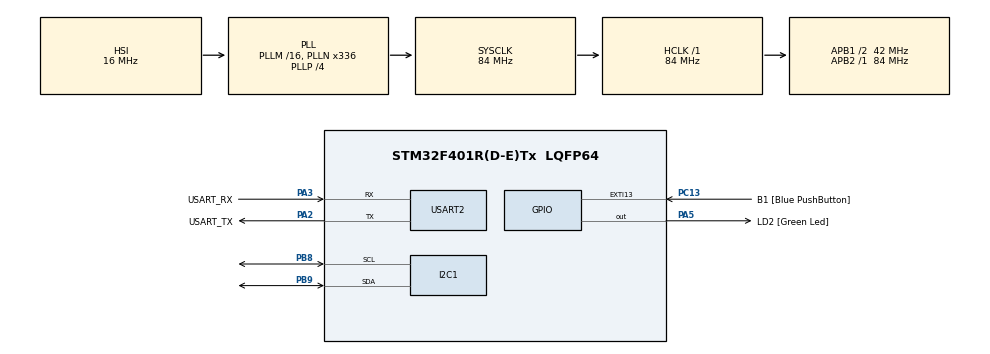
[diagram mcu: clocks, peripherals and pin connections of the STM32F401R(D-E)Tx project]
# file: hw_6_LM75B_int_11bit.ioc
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Mcu.Family=STM32F4
Mcu.Name=STM32F401R(D-E)Tx
Mcu.Package=LQFP64
NVIC.I2C1_ER_IRQn=true\:0\:0\:false\:false\:true\:true\:true\:true
NVIC.I2C1_EV_IRQn=true\:0\:0\:false\:false\:true\:true\:true\:true
NVIC.PriorityGroup=NVIC_PRIORITYGROUP_0
NVIC.TIM2_IRQn=true\:0\:0\:false\:false\:true\:true\:true\:true
PA13.GPIO_Label=TMS
PA13.Mode=Serial_Wire
PA13.Signal=SYS_JTMS-SWDIO
PA14.GPIO_Label=TCK
PA14.Mode=Serial_Wire
PA14.Signal=SYS_JTCK-SWCLK
PA2.GPIO_Label=USART_TX
PA2.GPIO_Mode=GPIO_MODE_AF_PP
PA2.GPIO_PuPd=GPIO_NOPULL
PA2.GPIO_Speed=GPIO_SPEED_FREQ_LOW
PA2.Mode=Asynchronous
PA2.Signal=USART2_TX
PA3.GPIO_Label=USART_RX
PA3.GPIO_Mode=GPIO_MODE_AF_PP
PA3.GPIO_PuPd=GPIO_NOPULL
PA3.GPIO_Speed=GPIO_SPEED_FREQ_LOW
PA3.Mode=Asynchronous
PA3.Signal=USART2_RX
PA5.GPIO_Label=LD2 [Green Led]
PA5.GPIO_Mode=GPIO_MODE_OUTPUT_PP
PA5.GPIO_PuPd=GPIO_NOPULL
PA5.GPIO_Speed=GPIO_SPEED_FREQ_LOW
PA5.Signal=GPIO_Output
PB3.GPIO_Label=SWO
PB3.Signal=SYS_JTDO-SWO
PB8.Mode=I2C
PB8.Signal=I2C1_SCL
PB9.Mode=I2C
PB9.Signal=I2C1_SDA
PC13-ANTI_TAMP.GPIO_Label=B1 [Blue PushButton]
PC13-ANTI_TAMP.GPIO_ModeDefaultEXTI=GPIO_MODE_IT_FALLING
PC13-ANTI_TAMP.GPIO_PuPd=GPIO_NOPULL
PC13-ANTI_TAMP.Signal=GPXTI13
PC14-OSC32_IN.Mode=LSE-External-Oscillator
PC14-OSC32_IN.Signal=RCC_OSC32_IN
PC15-OSC32_OUT.Mode=LSE-External-Oscillator
PC15-OSC32_OUT.Signal=RCC_OSC32_OUT
PH0\ -\ OSC_IN.Mode=HSE-External-Clock-Source
PH0\ -\ OSC_IN.Signal=RCC_OSC_IN
PH1\ -\ OSC_OUT.Mode=HSE-External-Clock-Source
PH1\ -\ OSC_OUT.Signal=RCC_OSC_OUT
ProjectManager.HeapSize=0x200
ProjectManager.StackSize=0x400
ProjectManager.TargetToolchain=STM32CubeIDE
RCC.48MHZClocksFreq_Value=48000000
RCC.AHBFreq_Value=84000000
RCC.APB1CLKDivider=RCC_HCLK_DIV2
RCC.APB1Freq_Value=42000000
RCC.APB1TimFreq_Value=84000000
RCC.APB2Freq_Value=84000000
RCC.APB2TimFreq_Value=84000000
RCC.CortexFreq_Value=84000000
RCC.HCLKFreq_Value=84000000
RCC.HSE_VALUE=8000000
RCC.HSI_VALUE=16000000
RCC.PLLN=336
RCC.PLLP=RCC_PLLP_DIV4
RCC.PLLQ=7
RCC.SYSCLKFreq_VALUE=84000000
RCC.SYSCLKSource=RCC_SYSCLKSOURCE_PLLCLK
RCC.VCOOutputFreq_Value=336000000
TIM2.Period=10000-1
TIM2.Prescaler=8400-1
USART2.VirtualMode=VM_ASYNC
VP_TIM2_VS_ClockSourceINT.Mode=Internal
board=NUCLEO-F401RE

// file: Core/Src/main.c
/* USER CODE BEGIN Header */
/**
  ******************************************************************************
  * @file           : main.c
  * @brief          : Main program body
  ******************************************************************************
  * @attention
  *
  * Copyright (c) 2023 STMicroelectronics.
  * All rights reserved.
  *
  * This software is licensed under terms that can be found in the LICENSE file
  * in the root directory of this software component.
  * If no LICENSE file comes with this software, it is provided AS-IS.
  *
  ******************************************************************************
  */
/* USER CODE END Header */
#include "main.h"

I2C_HandleTypeDef hi2c1;

TIM_HandleTypeDef htim2;

UART_HandleTypeDef huart2;

/* USER CODE BEGIN PV */
uint8_t LM75_ADDRESS = 0b10010000; //address left-shifted by 1, zero padded
uint8_t LM75_TEMP_ADDRESS= 0x00; // Address of the pointer register
/* USER CODE END PV */

void SystemClock_Config(void);
static void MX_GPIO_Init(void);
static void MX_USART2_UART_Init(void);
static void MX_I2C1_Init(void);
static void MX_TIM2_Init(void);

/* USER CODE BEGIN 0 */
void HAL_TIM_PeriodElapsedCallback(TIM_HandleTypeDef *htim) {

	if (htim == &htim2) {

		uint8_t thermometer_raw[2];

		if(HAL_I2C_Master_Receive(&hi2c1, LM75_ADDRESS+1, thermometer_raw, 2, 20) == HAL_OK) {

			uint8_t msbyte = thermometer_raw[0];
			uint8_t lsbyte = thermometer_raw[1];

			//msbyte = 0b11001001;
			//lsbyte = 0b00100000;

			int16_t thermometer_join = (msbyte << 8) | lsbyte;
			float thermometer = thermometer_join / 256.0;

			char string[64];
			snprintf(string, sizeof(string), "-> %.3f °C\r\n", thermometer);
			HAL_UART_Transmit(&huart2, (uint8_t *)string, strlen(string), 200);

		}

	}

}
/* USER CODE END 0 */

int main(void)
{

  /* MCU Configuration--------------------------------------------------------*/

  /* Reset of all peripherals, Initializes the Flash interface and the Systick. */
  HAL_Init();

  /* Configure the system clock */
  SystemClock_Config();

  /* Initialize all configured peripherals */
  MX_GPIO_Init();
  MX_USART2_UART_Init();
  MX_I2C1_Init();
  MX_TIM2_Init();
  /* USER CODE BEGIN 2 */
  HAL_I2C_Master_Transmit(&hi2c1, LM75_ADDRESS, (uint8_t*) &LM75_TEMP_ADDRESS, 1, 20);
  HAL_TIM_Base_Start_IT(&htim2);
  /* USER CODE END 2 */

  /* Infinite loop */
  while (1)
  {

  }
}

void SystemClock_Config(void)
{
  RCC_OscInitTypeDef RCC_OscInitStruct = {0};
  RCC_ClkInitTypeDef RCC_ClkInitStruct = {0};

  /** Configure the main internal regulator output voltage
  */
  __HAL_RCC_PWR_CLK_ENABLE();
  __HAL_PWR_VOLTAGESCALING_CONFIG(PWR_REGULATOR_VOLTAGE_SCALE2);

  /** Initializes the RCC Oscillators according to the specified parameters
  * in the RCC_OscInitTypeDef structure.
  */
  RCC_OscInitStruct.OscillatorType = RCC_OSCILLATORTYPE_HSI;
  RCC_OscInitStruct.HSIState = RCC_HSI_ON;
  RCC_OscInitStruct.HSICalibrationValue = RCC_HSICALIBRATION_DEFAULT;
  RCC_OscInitStruct.PLL.PLLState = RCC_PLL_ON;
  RCC_OscInitStruct.PLL.PLLSource = RCC_PLLSOURCE_HSI;
  RCC_OscInitStruct.PLL.PLLM = 16;
  RCC_OscInitStruct.PLL.PLLN = 336;
  RCC_OscInitStruct.PLL.PLLP = RCC_PLLP_DIV4;
  RCC_OscInitStruct.PLL.PLLQ = 7;
  if (HAL_RCC_OscConfig(&RCC_OscInitStruct) != HAL_OK)
  {
    Error_Handler();
  }

  /** Initializes the CPU, AHB and APB buses clocks
  */
  RCC_ClkInitStruct.ClockType = RCC_CLOCKTYPE_HCLK|RCC_CLOCKTYPE_SYSCLK
                              |RCC_CLOCKTYPE_PCLK1|RCC_CLOCKTYPE_PCLK2;
  RCC_ClkInitStruct.SYSCLKSource = RCC_SYSCLKSOURCE_PLLCLK;
  RCC_ClkInitStruct.AHBCLKDivider = RCC_SYSCLK_DIV1;
  RCC_ClkInitStruct.APB1CLKDivider = RCC_HCLK_DIV2;
  RCC_ClkInitStruct.APB2CLKDivider = RCC_HCLK_DIV1;

  if (HAL_RCC_ClockConfig(&RCC_ClkInitStruct, FLASH_LATENCY_2) != HAL_OK)
  {
    Error_Handler();
  }
}

static void MX_I2C1_Init(void)
{

  hi2c1.Instance = I2C1;
  hi2c1.Init.ClockSpeed = 100000;
  hi2c1.Init.DutyCycle = I2C_DUTYCYCLE_2;
  hi2c1.Init.OwnAddress1 = 0;
  hi2c1.Init.AddressingMode = I2C_ADDRESSINGMODE_7BIT;
  hi2c1.Init.DualAddressMode = I2C_DUALADDRESS_DISABLE;
  hi2c1.Init.OwnAddress2 = 0;
  hi2c1.Init.GeneralCallMode = I2C_GENERALCALL_DISABLE;
  hi2c1.Init.NoStretchMode = I2C_NOSTRETCH_DISABLE;
  if (HAL_I2C_Init(&hi2c1) != HAL_OK)
  {
    Error_Handler();
  }

}

static void MX_TIM2_Init(void)
{

  TIM_ClockConfigTypeDef sClockSourceConfig = {0};
  TIM_MasterConfigTypeDef sMasterConfig = {0};

  htim2.Instance = TIM2;
  htim2.Init.Prescaler = 8400-1;
  htim2.Init.CounterMode = TIM_COUNTERMODE_UP;
  htim2.Init.Period = 10000-1;
  htim2.Init.ClockDivision = TIM_CLOCKDIVISION_DIV1;
  htim2.Init.AutoReloadPreload = TIM_AUTORELOAD_PRELOAD_DISABLE;
  if (HAL_TIM_Base_Init(&htim2) != HAL_OK)
  {
    Error_Handler();
  }
  sClockSourceConfig.ClockSource = TIM_CLOCKSOURCE_INTERNAL;
  if (HAL_TIM_ConfigClockSource(&htim2, &sClockSourceConfig) != HAL_OK)
  {
    Error_Handler();
  }
  sMasterConfig.MasterOutputTrigger = TIM_TRGO_RESET;
  sMasterConfig.MasterSlaveMode = TIM_MASTERSLAVEMODE_DISABLE;
  if (HAL_TIMEx_MasterConfigSynchronization(&htim2, &sMasterConfig) != HAL_OK)
  {
    Error_Handler();
  }

}

static void MX_USART2_UART_Init(void)
{

  huart2.Instance = USART2;
  huart2.Init.BaudRate = 115200;
  huart2.Init.WordLength = UART_WORDLENGTH_8B;
  huart2.Init.StopBits = UART_STOPBITS_1;
  huart2.Init.Parity = UART_PARITY_NONE;
  huart2.Init.Mode = UART_MODE_TX_RX;
  huart2.Init.HwFlowCtl = UART_HWCONTROL_NONE;
  huart2.Init.OverSampling = UART_OVERSAMPLING_16;
  if (HAL_UART_Init(&huart2) != HAL_OK)
  {
    Error_Handler();
  }

}

static void MX_GPIO_Init(void)
{
  GPIO_InitTypeDef GPIO_InitStruct = {0};

  /* GPIO Ports Clock Enable */
  __HAL_RCC_GPIOC_CLK_ENABLE();
  __HAL_RCC_GPIOH_CLK_ENABLE();
  __HAL_RCC_GPIOA_CLK_ENABLE();
  __HAL_RCC_GPIOB_CLK_ENABLE();

  /*Configure GPIO pin Output Level */
  HAL_GPIO_WritePin(LD2_GPIO_Port, LD2_Pin, GPIO_PIN_RESET);

  /*Configure GPIO pin : B1_Pin */
  GPIO_InitStruct.Pin = B1_Pin;
  GPIO_InitStruct.Mode = GPIO_MODE_IT_FALLING;
  GPIO_InitStruct.Pull = GPIO_NOPULL;
  HAL_GPIO_Init(B1_GPIO_Port, &GPIO_InitStruct);

  /*Configure GPIO pin : LD2_Pin */
  GPIO_InitStruct.Pin = LD2_Pin;
  GPIO_InitStruct.Mode = GPIO_MODE_OUTPUT_PP;
  GPIO_InitStruct.Pull = GPIO_NOPULL;
  GPIO_InitStruct.Speed = GPIO_SPEED_FREQ_LOW;
  HAL_GPIO_Init(LD2_GPIO_Port, &GPIO_InitStruct);

}

void Error_Handler(void)
{
  __disable_irq();
  while (1)
  {
  }
}
